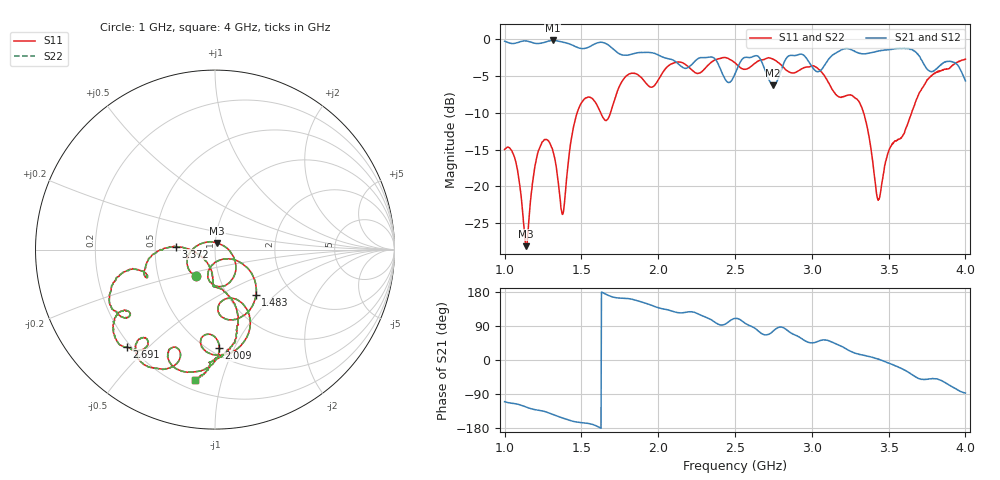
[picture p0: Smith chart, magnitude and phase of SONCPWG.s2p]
# MHz S MA R 50
!  freq  S11  S21  S12  S22
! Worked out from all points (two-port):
!   1000 points, 1 GHz to 4 GHz, reference 50 ohm
!   highest |S21| = -0.15 dB at 1.312 GHz (marker M1); lowest = -6.2 dB at 2.748 GHz (marker M2)
!   |S21| within 3 dB of the highest: start of sweep to 2.12 GHz; 3.095 GHz to 3.723 GHz (628 MHz wide, 18.4 % of centre)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
!   lowest |S11| = -28.1 dB at 1.141 GHz (marker M3), VSWR 1.08, Z = 51 + j3.82 ohm
!   |S11| at or under -10 dB: start of sweep to 1.472 GHz; 1.626 GHz to 1.689 GHz (63.43 MHz wide, 3.83 % of centre); 3.337 GHz to 3.65 GHz (312.3 MHz wide, 8.94 % of centre)
!   |S22| runs from -28.1 to -2.5 dB; largest |S21 - S12| = 0.0091
!   S11 on the Smith chart (normalised r, x): 1 GHz: 0.78, -0.23; 1.483 GHz: 1.34, -0.77; 2.009 GHz: 0.55, -0.87; 2.691 GHz: 0.19, -0.43; 3.372 GHz: 0.64, +0.02; 4 GHz: 0.26, -0.83
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1000  0.1783 -125.5  0.9725 -110.0  0.973 -110.1  0.1785 -125.5
1072.072  0.1481 -170.1  0.9427 -115.7  0.9424 -115.6  0.1482 -170.1
1141.141  0.03919 72.5  0.9753 -124.3  0.9759 -124.3  0.03922 73.0
1219.219  0.1737 -49.8  0.9367 -132.5  0.9369 -132.6  0.1733 -49.6
1312.312  0.1778 -100.2  0.9832 -143.5  0.9832 -143.6  0.1779 -100.2
1378.378  0.06451 -65.8  0.9587 -153.3  0.9581 -153.3  0.06415 -65.7
1483.483  0.3414 -48.1  0.8744 -164.4  0.8739 -164.2  0.3414 -48.0
1501.502  0.3721 -55.2  0.8671 -165.4  0.8662 -165.4  0.3727 -55.3
2000  0.5293 -87.7  0.7831 138.0  0.7831 138.1  0.5292 -87.8
2009.009  0.5497 -87.7  0.7748 137.0  0.7751 137.1  0.5501 -87.5
2408.408  0.7465 -118.0  0.6165 92.1  0.6166 92.3  0.7461 -118.0
2501.502  0.6912 -129.9  0.5876 109.9  0.5873 109.9  0.6909 -129.7
2690.691  0.7304 -132.1  0.6382 66.5  0.6393 66.7  0.7304 -131.9
2747.748  0.7325 -140.2  0.4878 75.9  0.4889 76.0  0.7332 -140.3
2852.853  0.5988 -145.4  0.774 74.3  0.7734 74.3  0.5998 -145.7
3000  0.662 -150.0  0.6563 45.4  0.6564 45.2  0.6623 -150.0
3150.15  0.4303 -164.2  0.8007 43.8  0.8003 43.9  0.4287 -164.1
3372.372  0.2188 175.7  0.8056 9.2  0.8059 9.1  0.2187 175.8
3432.432  0.0804 -139.1  0.8317 2.1  0.8308 2.4  0.08094 -139.2
3501.502  0.175 -94.3  0.8508 -8.4  0.8506 -8.3  0.1748 -93.9
3678.679  0.384 -70.9  0.8169 -45.4  0.8143 -45.2  0.3839 -70.6
4000  0.7337 -98.6  0.5222 -87.3  0.5225 -87.2  0.7334 -98.7
